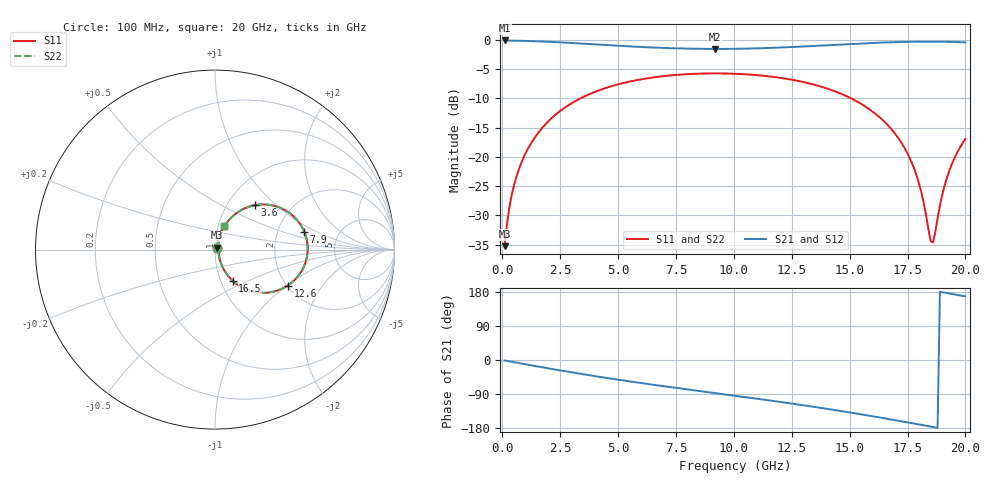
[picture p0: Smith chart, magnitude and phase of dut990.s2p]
! Touchstone file exported from HFSS 2026.1.0
!  File:  C:/ffzhzh/LocalFiles/Ansys_Project_Files/temp_train_TSV_RDL_990_1783288543_5512.aedt
!  Generated:  06:05:29 AM Jul  6, 2026
!  Design:  TSV_RDL
!  Project:  temp_train_TSV_RDL_990_1783288543_5512
! Variables:
!  h_bsmrdl = 2.98um
!  h_ox = 20um
!  h_rdl = 5um
!  h_sub = 55.03um
!  h_tmrdl = 3.56um
!  h_tsv = 55.03um
!  h_via = 3um
!  l_bsmrdl = 293.55um
!  l_sub = 3416.11um
!  l_tmrdl = 493.56um
!  m_sub = 200um
!  pitch = 54.62um
!  r_tsv = 9.23um
!  s_tmrdl = 10um
!  w_bsmrdl = 27.31um
!  w_sub = 500um
!  w_tmrdl = 26.43um
!  x_tsv_center1 = 506.775um
!  x_tsv_center2 = 827.635um
!  x_tsv_center3 = 1347.625um
!  x_tsv_center4 = 1668.485um
!  x_tsv_center5 = 2188.475um
!  x_tsv_center6 = 2509.335um
# GHz S MA R 50.000000
! Terminal data exported
! Port[1] = TM_RDL1_1_T1
! Port[2] = TM_RDL5_1_T1
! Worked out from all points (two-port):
!   200 points, 100 MHz to 20 GHz, reference 50 ohm
!   highest |S21| = -0.11 dB at 100 MHz (marker M1); lowest = -1.6 dB at 9.2 GHz (marker M2)
!   |S21| within 3 dB of the highest: start of sweep to end of sweep
!   lowest |S11| = -35.3 dB at 100 MHz (marker M3), VSWR 1.04, Z = 51.3 + j1.16 ohm
!   |S11| at or under -10 dB: start of sweep to 3.378 GHz; 15.06 GHz to end of sweep
!   |S22| runs from -35.3 to -5.7 dB; largest |S21 - S12| = 1.8e-14
!   S11 on the Smith chart (normalised r, x): 100 MHz: 1.03, +0.02; 3.6 GHz: 1.33, +0.74; 7.9 GHz: 2.83, +0.76; 12.6 GHz: 2.02, -1.02; 16.5 GHz: 1.14, -0.41; 20 GHz: 1.06, +0.29
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0.1  0.01725 41.1  0.9872 -1.2  0.9872 -1.2  0.01725 41.1
! Gamma 0 0 0 0
! Port Impedance 50 0 50 0
0.3  0.03653 63.7  0.9853 -3.5  0.9853 -3.5  0.03653 63.7
0.5  0.05662 68.6  0.9832 -5.7  0.9832 -5.7  0.05662 68.6
1.1  0.1164 69.4  0.9766 -12.4  0.9766 -12.4  0.1164 69.4
2.1  0.2114 62.0  0.9598 -23.2  0.9598 -23.2  0.2114 62.0
3.5  0.3251 49.1  0.9269 -37.7  0.9269 -37.7  0.3251 49.1
3.6  0.3322 48.1  0.9244 -38.7  0.9244 -38.7  0.3322 48.1
6.8  0.4849 20.2  0.8545 -67.7  0.8545 -67.7  0.4849 20.2
7.9  0.5073 11.3  0.8415 -76.8  0.8415 -76.8  0.5073 11.4
9.2  0.5165 1.1  0.8358 -87.4  0.8358 -87.4  0.5165 1.1
10.1  0.5121 -6.0  0.8381 -94.7  0.8381 -94.7  0.5121 -6.0
12.6  0.4523 -26.3  0.8688 -115.8  0.8688 -115.8  0.4523 -26.2
13.4  0.417 -33.1  0.8846 -123.0  0.8846 -123.0  0.417 -33.1
15.2  0.3061 -49.1  0.9241 -140.3  0.9241 -140.3  0.3061 -49.1
16.5  0.1998 -60.5  0.9488 -153.8  0.9488 -153.8  0.1998 -60.5
16.7  0.1819 -62.1  0.9518 -156.0  0.9518 -156.0  0.1819 -62.0
17.8  0.07806 -66.1  0.9627 -167.9  0.9627 -167.9  0.0781 -66.0
18.1  0.04958 -61.3  0.9639 -171.2  0.9639 -171.2  0.04964 -61.1
18.5  0.01913 -15.8  0.9641 -175.6  0.9641 -175.6  0.01928 -15.7
18.6  0.01852 13.9  0.9639 -176.7  0.9639 -176.7  0.01868 13.8
19.2  0.06615 69.5  0.9608 176.7  0.9608 176.7  0.0662 69.4
20  0.1421 69.5  0.9517 167.9  0.9517 167.9  0.1421 69.5
